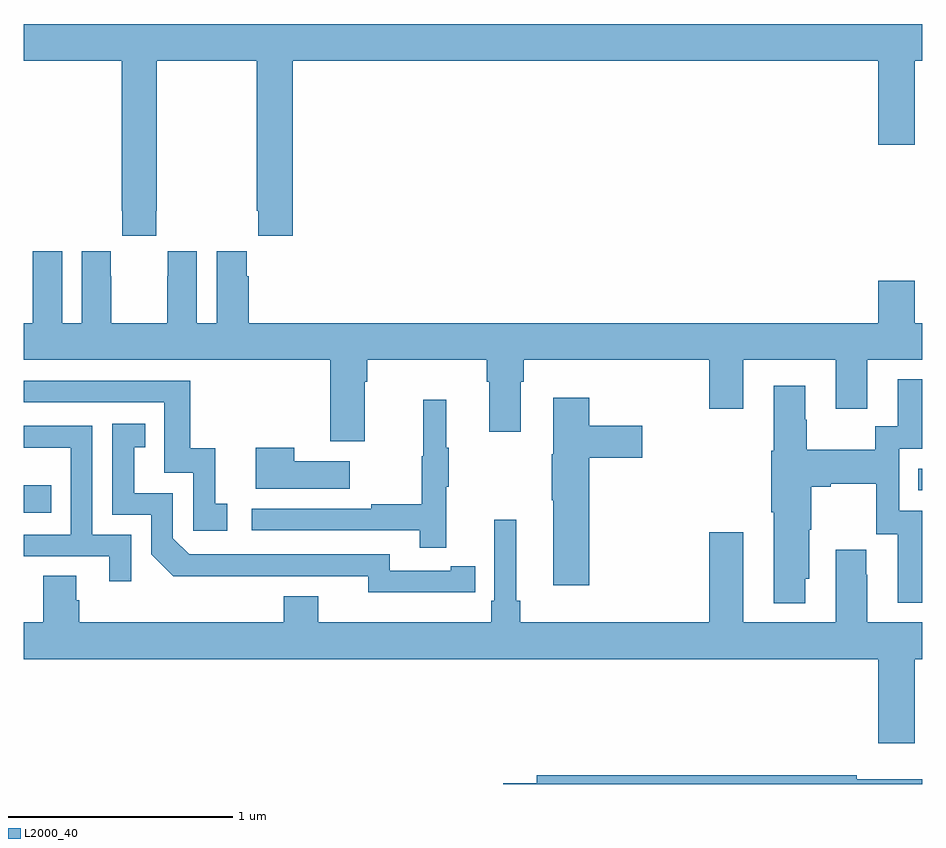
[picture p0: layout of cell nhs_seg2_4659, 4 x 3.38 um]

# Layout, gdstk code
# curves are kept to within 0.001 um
import gdstk
lib = gdstk.Library(unit=1e-6, precision=1e-09)
def R(c, l, rs):  # rectangles x0, y0, x1, y1
    for r in rs: c.add(gdstk.rectangle(r[:2], r[2:], *l))
def P(c, l, *ps):  # polygons
    for p in ps: c.add(gdstk.Polygon(p, *l))
L2000_40 = (2000, 40)

nhs_seg2_4659 = lib.new_cell('nhs_seg2_4659')
R(nhs_seg2_4659, L2000_40, [(365,595.008,365.123,595.131), (368.983,595.107,369,595.203)])
P(nhs_seg2_4659, L2000_40, [(365.589,596.353),(365.592,596.353),(365.592,597.02),(366.037,597.02),(366.037,596.353),(366.043,596.353),(366.043,596.241),(366.197,596.241),(366.197,597.02),(368.804,597.02),(368.804,596.646),(368.968,596.646),(368.968,597.02),(369,597.02),(369,597.184),(365,597.184),(365,597.02),(365.437,597.02),(365.437,596.353),(365.439,596.353),(365.439,596.241),(365.589,596.241)],
  [(366.517,595.592),(366.53,595.592),(366.53,595.688),(367.061,595.688),(367.061,595.592),(367.073,595.592),(367.073,595.368),(367.213,595.368),(367.213,595.592),(367.226,595.592),(367.226,595.688),(368.051,595.688),(368.051,595.47),(368.203,595.47),(368.203,595.688),(368.615,595.688),(368.615,595.47),(368.755,595.47),(368.755,595.688),(369,595.688),(369,595.852),(368.968,595.852),(368.968,596.041),(368.804,596.041),(368.804,595.852),(366.002,595.852),(366.002,596.06),(365.992,596.06),(365.992,596.173),(365.858,596.173),(365.858,595.852),(365.77,595.852),(365.77,596.173),(365.64,596.173),(365.64,596.06),(365.639,596.06),(365.639,595.852),(365.389,595.852),(365.389,596.06),(365.388,596.06),(365.388,596.173),(365.258,596.173),(365.258,595.852),(365.17,595.852),(365.17,596.173),(365.04,596.173),(365.04,596.06),(365.039,596.06),(365.039,595.852),(365,595.852),(365,595.688),(366.365,595.688),(366.365,595.326),(366.517,595.326)],
  [(368.479,594.714),(368.497,594.714),(368.497,594.931),(368.505,594.931),(368.505,595.124),(368.593,595.124),(368.593,595.136),(368.795,595.136),(368.795,594.912),(368.891,594.912),(368.891,594.606),(369,594.606),(369,595.017),(368.898,595.017),(368.898,595.293),(369,595.293),(369,595.603),(368.891,595.603),(368.891,595.394),(368.79,595.394),(368.79,595.288),(368.487,595.288),(368.487,595.422),(368.479,595.422),(368.479,595.573),(368.339,595.573),(368.339,595.284),(368.327,595.284),(368.327,595.009),(368.339,595.009),(368.339,594.605),(368.479,594.605)],
  [(365.905,595.047),(365.852,595.047),(365.852,595.294),(365.741,595.294),(365.741,595.596),(365,595.596),(365,595.5),(365.625,595.5),(365.625,595.185),(365.754,595.185),(365.754,594.927),(365.905,594.927)],
  [(367.517,595.253),(367.753,595.253),(367.753,595.395),(367.517,595.395),(367.517,595.519),(367.358,595.519),(367.358,595.269),(367.351,595.269),(367.351,595.063),(367.358,595.063),(367.358,594.684),(367.517,594.684)],
  [(366.881,595.123),(366.892,595.123),(366.892,595.297),(366.881,595.297),(366.881,595.51),(366.778,595.51),(366.778,595.26),(366.771,595.26),(366.771,595.046),(366.547,595.046),(366.547,595.026),(366.015,595.026),(366.015,594.93),(366.763,594.93),(366.763,594.852),(366.881,594.852)],
  [(366.902,594.654),(367.01,594.654),(367.01,594.77),(366.902,594.77),(366.902,594.75),(366.63,594.75),(366.63,594.822),(365.736,594.822),(365.664,594.894),(365.664,595.095),(365.491,595.095),(365.491,595.299),(365.54,595.299),(365.54,595.405),(365.394,595.405),(365.394,594.999),(365.568,594.999),(365.568,594.822),(365.666,594.725),(366.534,594.726),(366.534,594.653)],
  [(365.478,594.909),(365.304,594.909),(365.304,595.395),(365,595.395),(365,595.298),(365.208,595.298),(365.208,594.909),(365,594.909),(365,594.813),(365.381,594.813),(365.381,594.702),(365.478,594.702)],
  [(366.451,595.237),(366.203,595.237),(366.203,595.297),(366.032,595.297),(366.032,595.115),(366.451,595.115)],
  [(368.968,594.356),(369,594.356),(369,594.52),(368.755,594.52),(368.755,594.731),(368.752,594.731),(368.752,594.844),(368.615,594.844),(368.615,594.52),(368.203,594.52),(368.203,594.922),(368.051,594.922),(368.051,594.52),(367.211,594.52),(367.211,594.616),(367.192,594.616),(367.192,594.976),(367.095,594.976),(367.095,594.616),(367.082,594.616),(367.082,594.52),(366.31,594.52),(366.31,594.637),(366.158,594.637),(366.158,594.52),(365.246,594.52),(365.246,594.618),(365.233,594.618),(365.233,594.728),(365.086,594.728),(365.086,594.52),(365,594.52),(365,594.356),(368.804,594.356),(368.804,593.982),(368.968,593.982)],
  [(369,593.821),(368.708,593.821),(368.708,593.84),(367.283,593.84),(367.283,593.804),(367.134,593.804),(367.134,593.8),(369,593.8)])

lib.write_gds('nhs_seg2_4659.gds')
